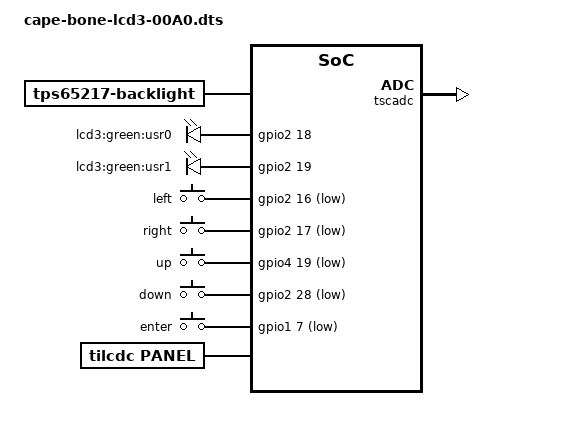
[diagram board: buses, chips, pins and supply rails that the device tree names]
/*
 * Copyright (C) 2012 Texas Instruments Incorporated - http://www.ti.com/
 *
 * This program is free software; you can redistribute it and/or modify
 * it under the terms of the GNU General Public License version 2 as
 * published by the Free Software Foundation.
 */
/dts-v1/;
/plugin/;

/ {
	compatible = "ti,beaglebone", "ti,beaglebone-black";

	/* identification */
	part-number = "BB-BONE-LCD3-01";
	version = "00A0";

	/* state the resources this cape uses */
	exclusive-use =
		/* the pin header uses */
		"P8.45",	/* lcd: lcd_data0 */
		"P8.46",	/* lcd: lcd_data1 */
		"P8.43",	/* lcd: lcd_data2 */
		"P8.44",	/* lcd: lcd_data3 */
		"P8.41",	/* lcd: lcd_data4 */
		"P8.42",	/* lcd: lcd_data5 */
		"P8.39",	/* lcd: lcd_data6 */
		"P8.40",	/* lcd: lcd_data7 */
		"P8.37",	/* lcd: lcd_data8 */
		"P8.38",	/* lcd: lcd_data9 */
		"P8.36",	/* lcd: lcd_data10 */
		"P8.34",	/* lcd: lcd_data11 */
		"P8.35",	/* lcd: lcd_data12 */
		"P8.33",	/* lcd: lcd_data13 */
		"P8.31",	/* lcd: lcd_data14 */
		"P8.32",	/* lcd: lcd_data15 */
		"P8.27",	/* lcd: lcd_vsync */
		"P8.29",	/* lcd: lcd_hsync */
		"P8.28",	/* lcd: lcd_pclk */
		"P8.30",	/* lcd: lcd_ac_bias_en */
		"P9.14",	/* led: gpio1_18 */
		"P9.16",	/* led: gpio1_19 */
		"P9.15",	/* keys: gpio1_16 */
		"P9.23",	/* keys: gpio1_17 */
		"P9.27",	/* keys: gpio3_19 */
		"P9.12",	/* keys: gpio1_28 */
		"P9.42",	/* keys: gpio0_7 */
		/* the hardware IP uses */
		"gpio1_18",
		"gpio1_19",
		"gpio1_16",
		"gpio1_17",
		"gpio3_19",
		"gpio0_7",
		"lcd",
		"tps-bl",
		"tscadc";

	fragment@0 {
		target = <&am33xx_pinmux>;
		__overlay__ {

			bone_lcd3_cape_led_00A0_pins: pinmux_bone_lcd3_cape_led_00A0_pins {
				pinctrl-single,pins = <
					0x48 0x07	/* gpmc_a2.gpio1_18, OUTPUT | MODE7 */
					0x4c 0x07	/* gpmc_a3.gpio1_19, OUTPUT | MODE7 */
				>;
			};

			bone_lcd3_cape_lcd_pins: pinmux_bone_lcd3_cape_lcd_pins {
				pinctrl-single,pins = <
					0xa0 0x08	/* lcd_data0.lcd_data0, OMAP_MUX_MODE0 | AM33XX_PIN_OUTPUT | AM33XX_PULL_DISA */
					0xa4 0x08	/* lcd_data1.lcd_data1, OMAP_MUX_MODE0 | AM33XX_PIN_OUTPUT | AM33XX_PULL_DISA */
					0xa8 0x08	/* lcd_data2.lcd_data2, OMAP_MUX_MODE0 | AM33XX_PIN_OUTPUT | AM33XX_PULL_DISA */
					0xac 0x08	/* lcd_data3.lcd_data3, OMAP_MUX_MODE0 | AM33XX_PIN_OUTPUT | AM33XX_PULL_DISA */
					0xb0 0x08	/* lcd_data4.lcd_data4, OMAP_MUX_MODE0 | AM33XX_PIN_OUTPUT | AM33XX_PULL_DISA */
					0xb4 0x08	/* lcd_data5.lcd_data5, OMAP_MUX_MODE0 | AM33XX_PIN_OUTPUT | AM33XX_PULL_DISA */
					0xb8 0x08	/* lcd_data6.lcd_data6, OMAP_MUX_MODE0 | AM33XX_PIN_OUTPUT | AM33XX_PULL_DISA */
					0xbc 0x08	/* lcd_data7.lcd_data7, OMAP_MUX_MODE0 | AM33XX_PIN_OUTPUT | AM33XX_PULL_DISA */
					0xc0 0x08	/* lcd_data8.lcd_data8, OMAP_MUX_MODE0 | AM33XX_PIN_OUTPUT | AM33XX_PULL_DISA */
					0xc4 0x08	/* lcd_data9.lcd_data9, OMAP_MUX_MODE0 | AM33XX_PIN_OUTPUT | AM33XX_PULL_DISA */
					0xc8 0x08	/* lcd_data10.lcd_data10, OMAP_MUX_MODE0 | AM33XX_PIN_OUTPUT | AM33XX_PULL_DISA */
					0xcc 0x08	/* lcd_data11.lcd_data11, OMAP_MUX_MODE0 | AM33XX_PIN_OUTPUT | AM33XX_PULL_DISA */
					0xd0 0x08	/* lcd_data12.lcd_data12, OMAP_MUX_MODE0 | AM33XX_PIN_OUTPUT | AM33XX_PULL_DISA */
					0xd4 0x08	/* lcd_data13.lcd_data13, OMAP_MUX_MODE0 | AM33XX_PIN_OUTPUT | AM33XX_PULL_DISA */
					0xd8 0x08	/* lcd_data14.lcd_data14, OMAP_MUX_MODE0 | AM33XX_PIN_OUTPUT | AM33XX_PULL_DISA */
					0xdc 0x08	/* lcd_data15.lcd_data15, OMAP_MUX_MODE0 | AM33XX_PIN_OUTPUT | AM33XX_PULL_DISA */
					0xe0 0x00	/* lcd_vsync.lcd_vsync, OMAP_MUX_MODE0 | AM33XX_PIN_OUTPUT */
					0xe4 0x00	/* lcd_hsync.lcd_hsync, OMAP_MUX_MODE0 | AM33XX_PIN_OUTPUT */
					0xe8 0x00	/* lcd_pclk.lcd_pclk, OMAP_MUX_MODE0 | AM33XX_PIN_OUTPUT */
					// 0xec 0x00	/* lcd_ac_bias_en.lcd_ac_bias_en, OMAP_MUX_MODE0 | AM33XX_PIN_OUTPUT */
					0xec 0x07	/* lcd_ac_bias_en.gpio2_25 OMAP_MUX_MODE7 | AM33XX_PIN_OUTPUT */
				>;
			};

			bone_lcd3_cape_keys_00A0_pins: pinmux_bone_lcd3_cape_keys_00A0_pins {
				pinctrl-single,pins = <
					0x040 0x2f	/* gpmc_a0.gpio1_16, INPUT | PULLDIS | MODE7 */
					0x044 0x2f	/* gpmc_a1.gpio1_17, INPUT | PULLDIS | MODE7 */
					0x1a4 0x2f	/* mcasp0_fsr.gpio3_19, INPUT | PULLDIS | MODE7 */
					0x078 0x2f	/* gpmc_ben1.gpio1_28, INPUT | PULLDIS | MODE7 */
					0x164 0x2f	/* ecap0_in_pwm0_out.gpio0_7, INPUT | PULLDIS | MODE7 */
				>;
			};

		};
	};

	fragment@1 {
		target = <&tps>;
		__overlay__ {
			backlight {
				compatible = "tps65217-backlight";
				isel = <1>;
				fdim = <200>;
				brightness = <100>;
				tps = <&tps>;
			};
		};
	};

	fragment@2 {
		target = <&ocp>;

		__overlay__ {

			/* avoid stupid warning */
			#address-cells = <1>;
			#size-cells = <1>;

			tscadc {
				compatible = "ti,ti-tscadc";
				reg = <0x44e0d000 0x1000>;

				interrupt-parent = <&intc>;
				interrupts = <16>;
				ti,hwmods = "adc_tsc";
				status = "okay";

				tsc {
					ti,wires = <4>;
					ti,x-plate-resistance = <200>;
					ti,coordinate-readouts = <5>;
					ti,wire-config = <0x00 0x11 0x22 0x33>;
				};

				adc {
					ti,adc-channels = <4 5 6 7>;
				};
			};

			gpio-leds-cape-lcd3 {
				compatible = "gpio-leds";
				pinctrl-names = "default";

				pinctrl-0 = <&bone_lcd3_cape_led_00A0_pins>;

				lcd3-led0 {
					label = "lcd3:green:usr0";
					gpios = <&gpio2 18 0>;
					linux,default-trigger = "heartbeat";
					default-state = "off";
				};

				lcd3-led1 {
					label = "lcd3:green:usr1";
					gpios = <&gpio2 19 0>;
					linux,default-trigger = "cpu0";
					default-state = "off";
				};
			};

			gpio_keys {
				compatible = "gpio-keys";
				pinctrl-names = "default";
				pinctrl-0 = <&bone_lcd3_cape_keys_00A0_pins>;

				#address-cells = <1>;
				#size-cells = <0>;

				button@1 {
					debounce_interval = <50>;
					linux,code = <105>;
					label = "left";
					gpios = <&gpio2 16 0x1>;
					gpio-key,wakeup;
					autorepeat;
				};
				button@2 {
					debounce_interval = <50>;
					linux,code = <106>;
					label = "right";
					gpios = <&gpio2 17 0x1>;
					gpio-key,wakeup;
					autorepeat;
				};
				button@3 {
					debounce_interval = <50>;
					linux,code = <103>;
					label = "up";
					gpios = <&gpio4 19 0x1>;
					gpio-key,wakeup;
					autorepeat;
				};
				button@4 {
					debounce_interval = <50>;
					linux,code = <108>;
					label = "down";
					gpios = <&gpio2 28 0x1>;
					gpio-key,wakeup;
					autorepeat;
				};
				button@5 {
					debounce_interval = <50>;
					linux,code = <28>;
					label = "enter";
					gpios = <&gpio1 7 0x1>;
					gpio-key,wakeup;
				};
			};

			/* Settings for CDTech_S035Q01 / LCD3 cape: */
			panel {
				compatible = "tilcdc,panel";
				pinctrl-names = "default";
				pinctrl-0 = <&bone_lcd3_cape_lcd_pins>;
				panel-info {
					ac-bias           = <255>;
					ac-bias-intrpt    = <0>;
					dma-burst-sz      = <16>;
					bpp               = <16>;
					fdd               = <0x80>;
					tft-alt-mode      = <0>;
					stn-565-mode      = <0>;
					mono-8bit-mode    = <0>;
					sync-edge         = <0>;
					sync-ctrl         = <1>;
					raster-order      = <0>;
					fifo-th           = <0>;
					invert-pxl-clk;
				};
				display-timings {
					native-mode = <&timing0>;
					timing0: 320x240 {
						hactive         = <320>;
						vactive         = <240>;
						hback-porch     = <22>;
						hfront-porch    = <59>;
						hsync-len       = <48>;
						vback-porch     = <12>;
						vfront-porch    = <23>;
						vsync-len       = <2>;
						clock-frequency = <8000000>;
						hsync-active    = <0>;
						vsync-active    = <0>;
					};
				};
			};

			fb {
				compatible = "ti,am33xx-tilcdc";
				reg = <0x4830e000 0x1000>;
				interrupt-parent = <&intc>;
				interrupts = <36>;
				ti,hwmods = "lcdc";
				ti,power-gpio = <&gpio3 25 0>;
			};

		};
	};
};
